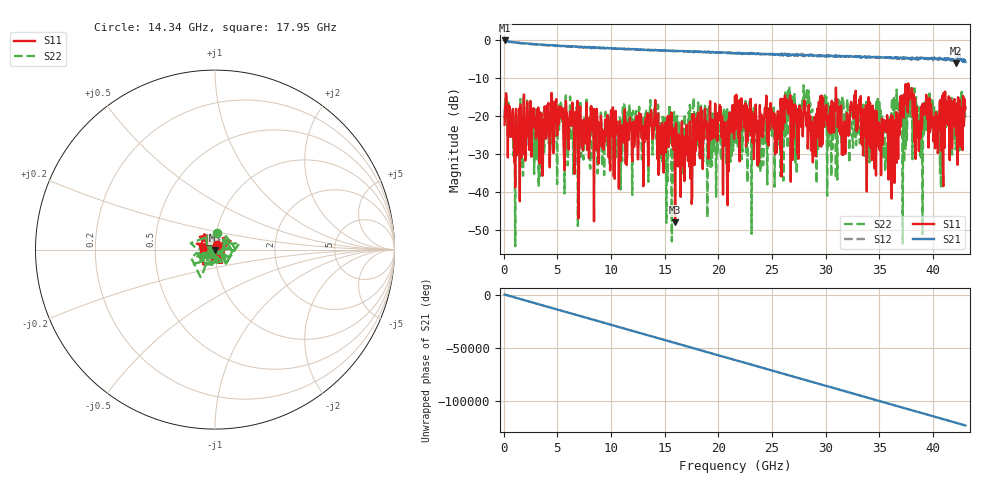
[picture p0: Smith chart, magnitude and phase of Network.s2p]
# Hz S RI R 50.000000
! Metas.Vna.Tools, 2.9.9438.25149
! Metas.Vna.Data, 2.9.9438.25100
! Created: UTC 2026.07.01 05:47:53
! FREQ  re:S1,1  im:S1,1  re:S2,1  im:S2,1  re:S1,2  im:S1,2  re:S2,2  im:S2,2
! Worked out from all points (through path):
!   1001 points, 100 MHz to 43 GHz, reference 50 ohm
!   highest |S21| = -0.21 dB at 100 MHz (marker M1); lowest = -6.3 dB at 42.14 GHz (marker M2)
!   lowest |S11| = -48.0 dB at 15.97 GHz (marker M3), VSWR 1.01, Z = 49.8 - j0.313 ohm
!   |S11| at or under -10 dB: start of sweep to end of sweep
!   |S22| runs from -54.2 to -12.0 dB; largest |S21 - S12| = 0.52
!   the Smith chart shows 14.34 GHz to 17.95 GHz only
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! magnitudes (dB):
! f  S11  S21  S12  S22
! 100 MHz  -22.3  -0.2  -0.2  -20.7
! 1.13 GHz  -19.6  -0.7  -0.8  -19.2
! 5.291 GHz  -20.2  -1.6  -1.7  -18.5
! 7.264 GHz  -23.3  -1.9  -1.9  -23.1
! 14.43 GHz  -35.5  -2.7  -2.9  -19.6
! 15.97 GHz  -48.0  -3.0  -3.0  -25.6
! 20.05 GHz  -21.2  -3.3  -3.4  -26.3
! 20.78 GHz  -24.5  -3.4  -3.4  -20.2
! 21.55 GHz  -14.8  -3.6  -3.7  -22.9
! 28.71 GHz  -21.6  -4.0  -4.1  -18.4
! 31.12 GHz  -22.9  -4.2  -4.3  -18.4
! 31.72 GHz  -21.5  -4.5  -4.5  -19.1
! 32.58 GHz  -20.7  -4.5  -4.5  -24.7
! 35.88 GHz  -22.8  -4.8  -4.8  -20.1
! 36.52 GHz  -26.0  -4.6  -4.7  -21.9
! 37.64 GHz  -19.2  -4.8  -4.8  -15.7
! 38.58 GHz  -21.8  -4.9  -5.1  -20.9
! 38.88 GHz  -17.6  -4.9  -5.0  -31.0
! 39.74 GHz  -23.6  -4.9  -5.0  -19.3
! 40.51 GHz  -19.8  -5.2  -5.1  -20.5
! 42.14 GHz  -25.2  -6.3  -5.7  -21.2
! 43 GHz  -17.7  -5.8  -5.8  -18.0
